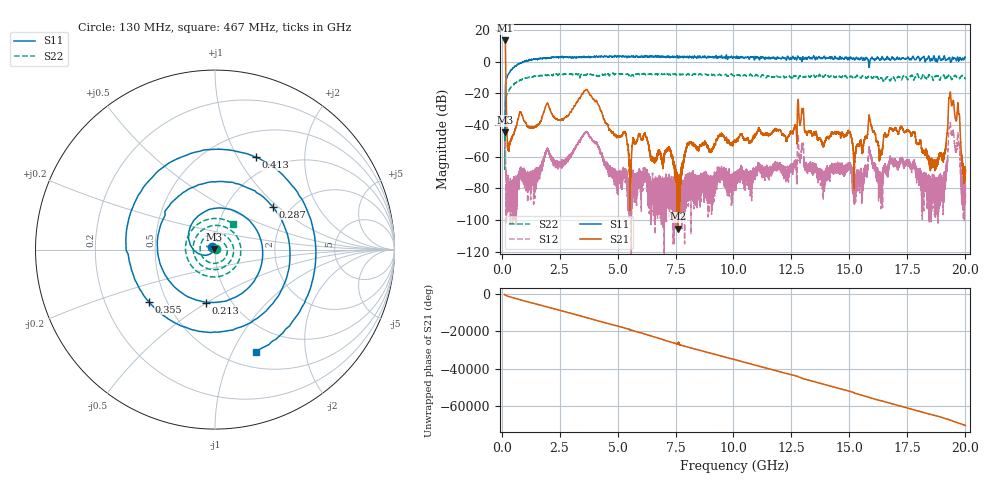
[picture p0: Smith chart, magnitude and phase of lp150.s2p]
!Created with skrf (http://scikit-rf.org).
# GHz S RI R 50.0
!freq ReS11 ImS11 ReS21 ImS21 ReS12 ImS12 ReS22 ImS22
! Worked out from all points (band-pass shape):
!   20013 points, 130 MHz to 20 GHz, reference 50 ohm
!   highest |S21| = 13.44 dB at 135 MHz (marker M1); lowest = -105.6 dB at 7.599 GHz (marker M2)
!   |S21| within 3 dB of the highest: start of sweep to 164.7 MHz
!   lowest |S11| = -44.5 dB at 141 MHz (marker M3), VSWR 1.01, Z = 49.6 + j0.391 ohm
!   |S11| at or under -10 dB: start of sweep to 232.9 MHz; 233.4497 MHz to 234.1078 MHz (658.1 kHz wide, 0.282 % of centre)
!   |S22| runs from -68.1 to -7.3 dB; largest |S21 - S12| = 4.7
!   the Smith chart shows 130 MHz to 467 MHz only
!   S11 on the Smith chart (normalised r, x): 130 MHz: 0.97, +0.02; 213 MHz: 0.77, -0.50; 287 MHz: 1.62, +0.92; 355 MHz: 0.40, -0.30; 413 MHz: 0.79, +1.19; 467 MHz: 0.68, -1.24
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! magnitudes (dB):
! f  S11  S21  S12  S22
! 130 MHz  -34.0  13.4  -53.3  -45.1
! 135 MHz  -36.7  13.4  -53.4  -48.3
! 141 MHz  -44.5  13.4  -52.3  -68.1
! 213 MHz  -10.5  -33.2  -83.0  -21.3
! 287 MHz  -7.9  -54.2  -84.9  -18.9
! 355 MHz  -6.6  -52.7  -88.5  -17.0
! 413 MHz  -5.0  -49.0  -81.0  -16.0
! 467 MHz  -4.2  -47.2  -82.9  -15.1
! 3.442 GHz  2.7  -21.3  -47.9  -7.9
! 5.526 GHz  3.4  -72.9  -93.5  -9.1
! 5.943 GHz  3.0  -45.6  -68.8  -8.1
! 6.754 GHz  3.3  -57.2  -83.7  -8.0
! 7.599 GHz  2.9  -105.6  -87.2  -8.2
! 8.084 GHz  3.1  -51.5  -75.7  -8.1
! 10.06 GHz  2.9  -50.3  -73.2  -9.3
! 13.38 GHz  2.0  -45.9  -68.7  -9.2
! 16.69 GHz  1.8  -45.2  -65.0  -10.2
! 18.71 GHz  0.4  -68.0  -86.7  -9.3
! 19.09 GHz  3.8  -58.7  -69.6  -8.8
! 19.37 GHz  -0.2  -23.6  -42.7  -10.0
! 19.71 GHz  0.7  -31.8  -50.2  -10.6
! 20 GHz  2.7  -68.9  -75.7  -10.7
